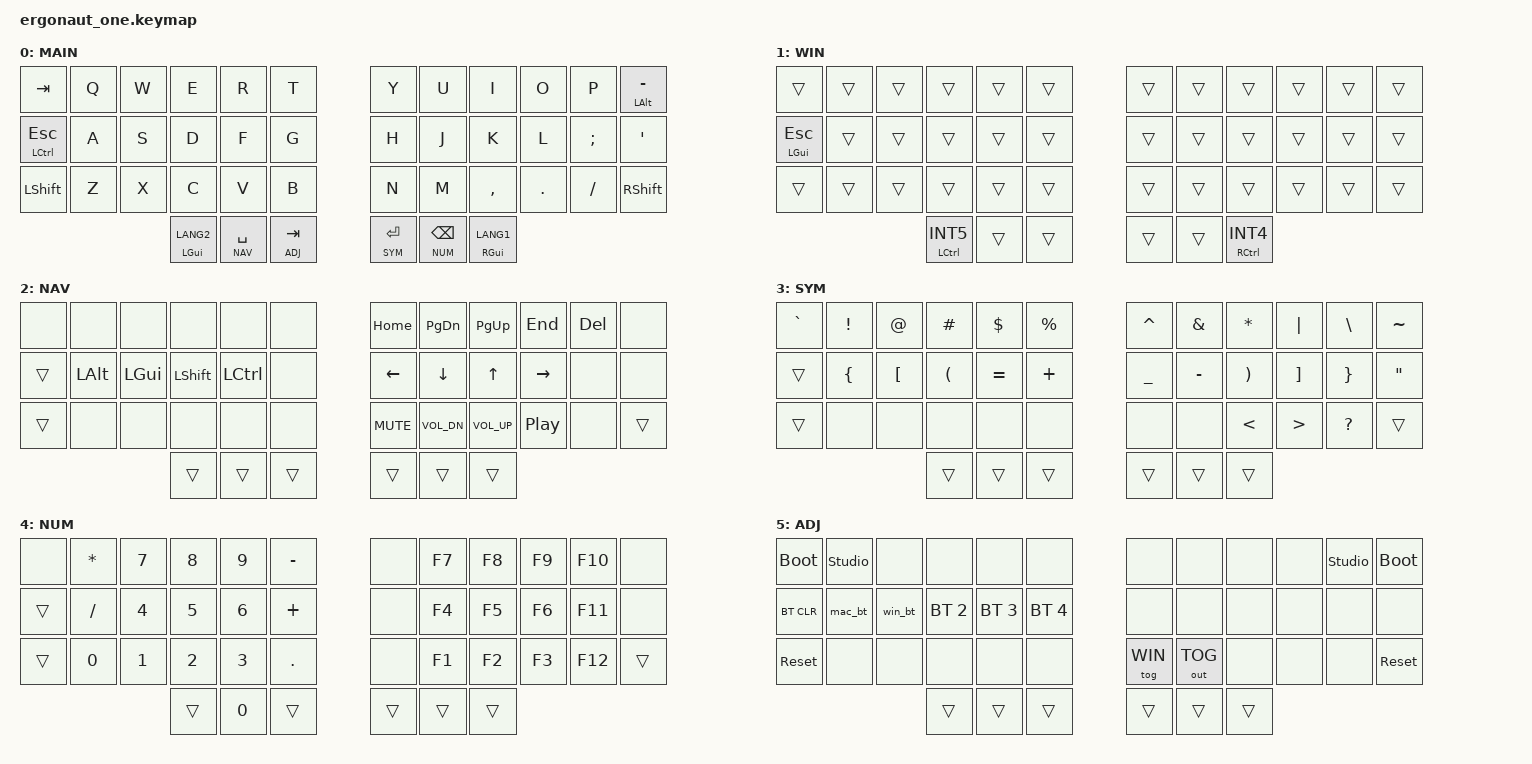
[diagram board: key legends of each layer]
#include <behaviors.dtsi>
#include <dt-bindings/zmk/keys.h>
#include <dt-bindings/zmk/bt.h>
#include <dt-bindings/zmk/outputs.h>

// WIN は DEF の直上に置く。上のレイヤーが透過したキーを WIN の差し替えで拾うため
#define DEF 0
#define WIN 1
#define NAV 2
#define SYM 3
#define NUM 4
#define ADJ 5

// balanced にするのは、Space や `-` を打鍵中に次のキーと重ねて押しても
// 修飾やレイヤーに化けないようにするため。先に離せばタップとして扱われる
&lt {
    flavor = "balanced";
    tapping-term-ms = <200>;
    quick-tap-ms = <200>;
};

&mt {
    flavor = "balanced";
    tapping-term-ms = <200>;
    quick-tap-ms = <200>;
};

/ {
    // zmk-layer-hud に今のレイヤーと押したキーの位置を BLE で送る。
    // heartbeat は HUD を後から起動しても 2 秒以内に表示が追いつくようにするため
    layer_signal {
        compatible = "zmk,layer-signal";
        heartbeat-ms = <2000>;
        positions;
    };

    // BT の切り替えと同時に OS 用のレイヤーを確定させる。&tog は反転なので、
    // 今の状態に関係なく DEF か WIN だけにする &to を使う
    macros {
        mac_bt: mac_bt {
            compatible = "zmk,behavior-macro";
            #binding-cells = <0>;
            bindings = <&bt BT_SEL 0 &to DEF>;
        };

        win_bt: win_bt {
            compatible = "zmk,behavior-macro";
            #binding-cells = <0>;
            bindings = <&bt BT_SEL 1 &to WIN>;
        };
    };

    keymap {
        compatible = "zmk,keymap";

        // Mac 用。親指の Cmd はタップで英数／かな。Karabiner の同じ設定とも両立する
        default_layer {
            display-name = "MAIN";
            bindings = <
                &kp TAB          &kp Q  &kp W  &kp E  &kp R  &kp T      &kp Y  &kp U  &kp I      &kp O    &kp P     &mt LALT MINUS
                &mt LCTRL ESC    &kp A  &kp S  &kp D  &kp F  &kp G      &kp H  &kp J  &kp K      &kp L    &kp SEMI  &kp SQT
                &kp LSHFT        &kp Z  &kp X  &kp C  &kp V  &kp B      &kp N  &kp M  &kp COMMA  &kp DOT  &kp FSLH  &kp RSHFT
                             &mt LGUI LANG2  &lt NAV SPACE  &lt ADJ TAB      &lt SYM RET  &lt NUM BSPC  &mt RGUI LANG1
            >;
        };

        // Windows 用に DEF へ重ねる。Mac の Cmd と同じ親指で Ctrl を押せるようにし、
        // IME は Microsoft IME で無変換＝オフ、変換＝オンに割り当てて使う
        windows_layer {
            display-name = "WIN";
            bindings = <
                &trans           &trans  &trans  &trans  &trans  &trans      &trans  &trans  &trans  &trans  &trans  &trans
                &mt LGUI ESC     &trans  &trans  &trans  &trans  &trans      &trans  &trans  &trans  &trans  &trans  &trans
                &trans           &trans  &trans  &trans  &trans  &trans      &trans  &trans  &trans  &trans  &trans  &trans
                             &mt LCTRL INT5  &trans  &trans      &trans  &trans  &mt RCTRL INT4
            >;
        };

        // 左親指の Space 長押し。矢印は Karabiner の fn+hjkl と同じ位置
        nav_layer {
            display-name = "NAV";
            bindings = <
                &none    &none      &none      &none       &none      &none      &kp HOME     &kp PG_DN     &kp PG_UP     &kp END    &kp DEL   &none
                &trans   &kp LALT   &kp LGUI   &kp LSHFT   &kp LCTRL  &none      &kp LEFT     &kp DOWN      &kp UP        &kp RIGHT  &none     &none
                &trans   &none      &none      &none       &none      &none      &kp C_MUTE   &kp C_VOL_DN  &kp C_VOL_UP  &kp C_PP   &none     &trans
                                                &trans  &trans  &trans      &trans  &trans  &trans
            >;
        };

        // 右親指の Enter 長押し。開き括弧は左手、閉じ括弧は右手の同じ指で対になる
        sym_layer {
            display-name = "SYM";
            bindings = <
                &kp GRAVE  &kp EXCL  &kp AT    &kp HASH  &kp DLLR   &kp PRCNT      &kp CARET  &kp AMPS   &kp STAR  &kp PIPE  &kp BSLH   &kp TILDE
                &trans     &kp LBRC  &kp LBKT  &kp LPAR  &kp EQUAL  &kp PLUS       &kp UNDER  &kp MINUS  &kp RPAR  &kp RBKT  &kp RBRC   &kp DQT
                &trans     &none     &none     &none     &none      &none          &none      &none      &kp LT    &kp GT    &kp QMARK  &trans
                                                &trans  &trans  &trans      &trans  &trans  &trans
            >;
        };

        // 右親指の Backspace 長押し。左手はテンキー、右手はファンクションキー
        num_layer {
            display-name = "NUM";
            bindings = <
                &none    &kp STAR   &kp N7  &kp N8  &kp N9  &kp MINUS      &none  &kp F7  &kp F8  &kp F9  &kp F10  &none
                &trans   &kp FSLH   &kp N4  &kp N5  &kp N6  &kp PLUS       &none  &kp F4  &kp F5  &kp F6  &kp F11  &none
                &trans   &kp N0     &kp N1  &kp N2  &kp N3  &kp DOT        &none  &kp F1  &kp F2  &kp F3  &kp F12  &trans
                                         &trans  &kp N0  &trans      &trans  &trans  &trans
            >;
        };

        // 左親指の Tab 長押し。BT 1 は Mac、BT 2 は Windows 専用で、切り替えると OS 用のレイヤーも合わせる。
        // USB で Windows に繋ぐときは WIN を手動で切り替える
        adjust_layer {
            display-name = "ADJ";
            bindings = <
                &bootloader   &studio_unlock &none          &none          &none          &none             &none         &none          &none          &none          &studio_unlock &bootloader
                &bt BT_CLR    &mac_bt        &win_bt        &bt BT_SEL 2   &bt BT_SEL 3   &bt BT_SEL 4      &none         &none          &none          &none          &none          &none
                &sys_reset    &none          &none          &none          &none          &none             &tog WIN      &out OUT_TOG   &none          &none          &none          &sys_reset
                                                            &trans         &trans         &trans            &trans        &trans         &trans
            >;
        };
    };
};
